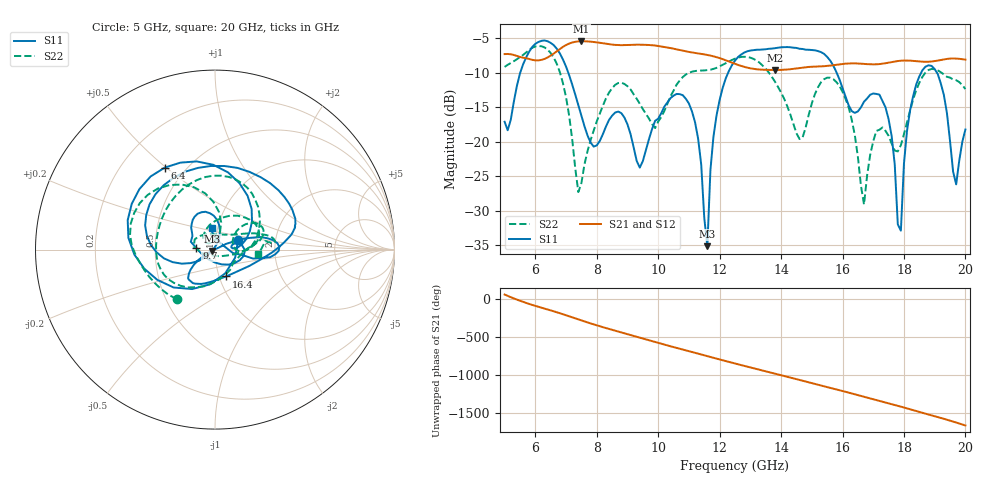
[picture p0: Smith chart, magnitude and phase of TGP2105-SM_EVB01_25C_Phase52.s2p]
! Date: Wednesday, June 05, 2013  1:52 PM
! Filename: C:\Data\Mike_Arnold\TGP2105-SM\Over_Temp\TGP2105-SM_EVB01_25C_Phase52.s2p
! Comments:
!^VDC(V):5.000
!^VDC(mA):0.089
!%Freq(GHz),S11(dB),S11(ang),S21(dB),S21(ang),S12(dB),S12(ang),S22(dB),S22(ang)
# GHz  S  DB  R  50
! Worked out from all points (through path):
!   151 points, 5 GHz to 20 GHz, reference 50 ohm
!   highest |S21| = -5.42 dB at 7.5 GHz (marker M1); lowest = -9.6 dB at 13.8 GHz (marker M2)
!   lowest |S11| = -35.2 dB at 11.6 GHz (marker M3), VSWR 1.04, Z = 48.5 - j0.785 ohm
!   |S11| at or under -10 dB: 7.073 GHz to 12.28 GHz (5.203 GHz wide, 53.8 % of centre); 15.81 GHz to 18.56 GHz (2.749 GHz wide, 16 % of centre); 19.07 GHz to end of sweep (the widest 3 of 4)
!   |S22| runs from -29.1 to -6.1 dB; largest |S21 - S12| = 0.0022
!   S11 on the Smith chart (normalised r, x): 5 GHz: 1.29, +0.14; 6.4 GHz: 0.39, +0.49; 9.7 GHz: 0.81, +0.01; 16.4 GHz: 1.08, -0.33; 20 GHz: 0.94, +0.23
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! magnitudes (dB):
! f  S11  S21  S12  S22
! 5 GHz  -17.1  -7.3  -7.3  -9.1
! 6.4 GHz  -5.4  -7.8  -7.8  -6.6
! 7.5 GHz  -16.3  -5.4  -5.4  -26.0
! 8.6 GHz  -15.8  -5.9  -6.0  -11.7
! 9.7 GHz  -19.6  -6.0  -6.0  -16.6
! 10 GHz  -16.7  -6.1  -6.1  -17.1
! 11 GHz  -14.5  -7.0  -7.0  -10.0
! 11.6 GHz  -35.2  -7.4  -7.4  -9.6
! 11.9 GHz  -16.2  -7.7  -7.7  -9.3
! 12.5 GHz  -8.2  -8.7  -8.7  -8.0
! 13.8 GHz  -6.4  -9.6  -9.6  -11.3
! 14.6 GHz  -6.5  -9.3  -9.3  -19.6
! 15 GHz  -6.7  -9.1  -9.1  -14.4
! 16.4 GHz  -15.8  -8.6  -8.7  -19.0
! 16.7 GHz  -14.2  -8.7  -8.7  -29.1
! 17.5 GHz  -16.7  -8.5  -8.6  -19.1
! 17.9 GHz  -32.9  -8.2  -8.3  -20.5
! 18.1 GHz  -18.4  -8.2  -8.2  -17.2
! 18.6 GHz  -9.6  -8.4  -8.4  -10.6
! 19.2 GHz  -11.6  -8.1  -8.2  -9.9
! 19.7 GHz  -26.2  -7.9  -8.0  -11.1
! 20 GHz  -18.2  -8.1  -8.1  -12.4
